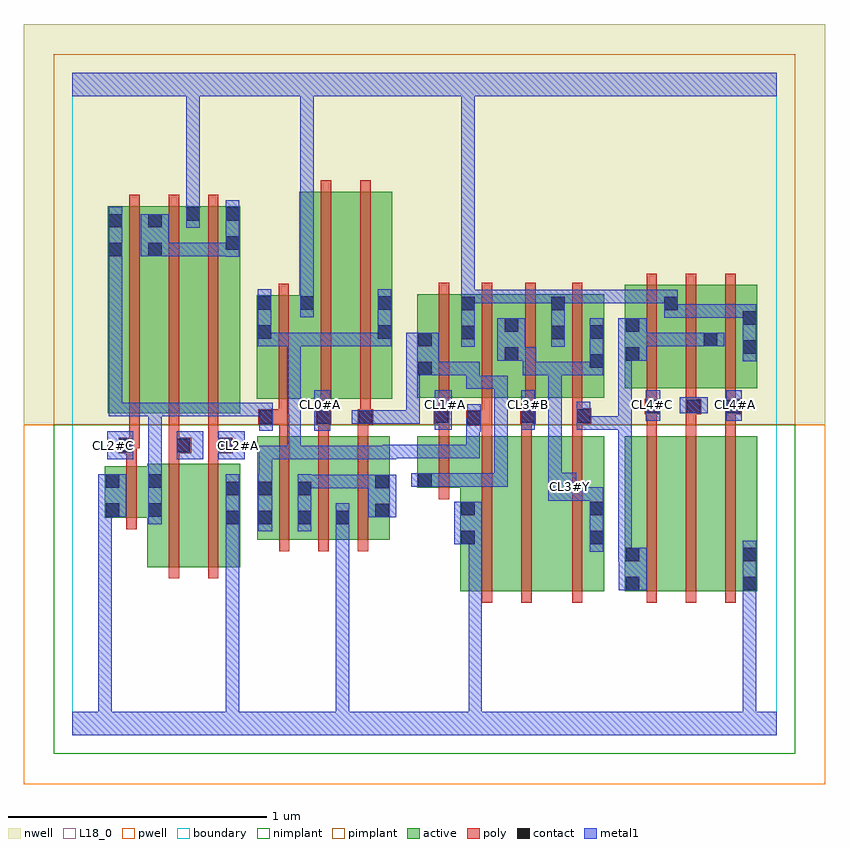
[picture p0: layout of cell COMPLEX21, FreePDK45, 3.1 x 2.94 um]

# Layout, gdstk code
import gdstk
lib = gdstk.Library(unit=1e-6, precision=1e-09)
def R(c, l, rs):  # rectangles x0, y0, x1, y1
    for r in rs: c.add(gdstk.rectangle(r[:2], r[2:], *l))
def A(c, l, x, y, w, h, nx, ny, dx, dy):  # array of equal rectangles
    R(c, l, [(x+i*dx, y+j*dy, x+i*dx+w, y+j*dy+h) for i in range(nx) for j in range(ny)])
active = (1, 0)
pwell = (2, 0)
nwell = (3, 0)
nimplant = (4, 0)
pimplant = (5, 0)
poly = (9, 0)
contact = (10, 0)
metal1 = (11, 0)
L18_0 = (18, 0)
boundary = (235, 0)

complex21 = lib.new_cell('COMPLEX21')
R(complex21, active, [(1.498,0.556,1.678,1.156), (1.678,0.556,1.83,1.156), (1.83,0.556,2.054,1.156), (1.994,0.556,2.054,1.156), (2.134,0.556,2.194,1.156), (2.134,0.556,2.314,1.156), (2.314,0.556,2.466,1.156), (2.466,0.556,2.646,1.156), (2.586,0.556,2.646,1.156), (0.288,0.65,0.468,1.05), (0.288,0.65,0.348,1.04), (0.468,0.65,0.648,1.05), (0.588,0.65,0.648,1.05), (1.498,0.734,1.558,1.156), (0.714,0.756,0.774,1.156), (0.714,0.756,0.926,1.156), (0.866,0.756,0.926,1.156), (0.866,0.756,1.074,1.156), (1.014,0.756,1.074,1.156), (1.014,0.756,1.226,1.156), (1.166,0.756,1.226,1.156), (0.124,0.84,0.184,1.04), (0.124,0.84,0.348,1.04), (1.332,0.956,1.558,1.156), (1.332,0.956,1.392,1.156), (0.136,1.244,0.196,2.044), (0.136,1.244,0.348,2.044), (0.288,1.244,0.496,2.044), (0.436,1.244,0.648,2.044), (0.588,1.244,0.648,2.044), (0.712,1.3,0.772,1.7), (0.712,1.3,0.936,1.7), (0.876,1.3,1.056,2.1), (1.056,1.3,1.236,2.1), (1.176,1.3,1.236,2.044), (1.332,1.304,1.392,1.644), (1.332,1.304,1.558,1.704), (1.498,1.304,1.726,1.704), (1.498,1.304,1.558,1.698), (1.666,1.304,1.726,1.704), (1.666,1.304,1.906,1.704), (1.846,1.304,1.906,1.704), (1.846,1.304,2.054,1.704), (1.994,1.304,2.054,1.644), (2.134,1.34,2.342,1.74), (2.134,1.34,2.194,1.644), (2.282,1.34,2.342,1.74), (2.282,1.34,2.494,1.74), (2.434,1.34,2.646,1.74), (2.434,1.34,2.494,1.644), (2.586,1.34,2.646,1.644), (0.876,1.64,0.936,1.7), (0.288,1.686,0.348,2.044), (0.436,1.686,0.496,2.044)])
R(complex21, pwell, [(-0.188,-0.188,2.908,1.2)])
R(complex21, nwell, [(-0.188,1.2,2.908,2.748)])
R(complex21, nimplant, [(-0.072,-0.072,2.792,1.2)])
R(complex21, pimplant, [(-0.072,1.2,2.792,2.632)])
A(complex21, poly, 2.218, 0.512, 0.04, 0.688, 3, 1, 0.152, 0)
A(complex21, poly, 0.798, 0.712, 0.04, 0.488, 3, 1, 0.152, 0)
A(complex21, poly, 0.22, 1.11, 0.04, 0.13, 3, 1, 0.152, 0)
A(complex21, poly, 0.798, 1.16, 0.04, 0.08, 3, 1, 0.152, 0)
A(complex21, poly, 2.218, 1.16, 0.04, 0.12, 3, 1, 0.152, 0)
A(complex21, poly, 0.22, 1.2, 0.04, 0.888, 3, 1, 0.152, 0)
A(complex21, poly, 2.218, 1.26, 0.04, 0.076, 3, 1, 0.152, 0)
A(complex21, poly, 2.218, 1.296, 0.04, 0.488, 3, 1, 0.152, 0)
R(complex21, poly, [(1.582,0.512,1.622,1.2), (1.734,0.512,1.774,1.2), (1.93,0.512,1.97,1.2), (0.372,0.606,0.412,1.094), (0.524,0.606,0.564,1.094), (0.208,0.796,0.248,1.084), (1.416,0.912,1.456,1.2), (0.208,1.044,0.248,1.13), (0.372,1.054,0.412,1.13), (0.524,1.054,0.564,1.13), (0.178,1.09,0.248,1.15), (0.372,1.09,0.458,1.15), (0.524,1.09,0.62,1.15), (0.208,1.11,0.248,1.15), (0.208,1.11,0.26,1.15), (0.372,1.11,0.412,1.15), (0.372,1.11,0.412,1.15), (0.524,1.11,0.564,1.15), (0.524,1.11,0.564,1.15), (1.416,1.16,1.456,1.244), (1.582,1.16,1.622,1.236), (1.734,1.16,1.774,1.244), (1.93,1.16,1.97,1.244), (1.522,1.196,1.622,1.256), (0.718,1.2,0.836,1.26), (0.796,1.2,0.836,1.24), (0.796,1.2,0.838,1.24), (0.94,1.2,1,1.26), (0.95,1.2,0.99,1.24), (0.95,1.2,0.99,1.24), (1.102,1.2,1.142,1.24), (1.102,1.2,1.142,1.24), (1.102,1.2,1.162,1.26), (1.396,1.204,1.456,1.264), (1.416,1.204,1.456,1.244), (1.416,1.204,1.456,1.244), (1.73,1.204,1.79,1.264), (1.93,1.204,1.97,1.244), (1.93,1.204,1.97,1.244), (1.93,1.204,2.004,1.264), (1.582,1.216,1.622,1.256), (1.582,1.216,1.622,1.256), (1.582,1.216,1.622,1.3), (0.796,1.22,0.836,1.296), (0.96,1.22,1,1.296), (1.112,1.22,1.152,1.296), (1.416,1.224,1.456,1.3), (1.75,1.224,1.79,1.3), (1.75,1.224,1.79,1.264), (1.75,1.224,1.79,1.264), (1.93,1.224,1.97,1.3), (2.21,1.24,2.27,1.3), (2.218,1.24,2.258,1.28), (2.218,1.24,2.258,1.28), (2.37,1.24,2.41,1.28), (2.37,1.24,2.41,1.28), (2.37,1.24,2.43,1.3), (2.522,1.24,2.582,1.3), (0.796,1.256,0.836,1.744), (0.96,1.256,1,2.144), (1.112,1.256,1.152,2.144), (1.416,1.26,1.456,1.748), (1.582,1.26,1.622,1.748), (1.75,1.26,1.79,1.748), (1.93,1.26,1.97,1.748), (2.522,1.26,2.562,1.3), (2.522,1.26,2.562,1.3)])
R(complex21, contact, [(2.138,0.56,2.19,0.612), (2.59,0.56,2.642,0.612), (2.138,0.672,2.19,0.724), (2.59,0.672,2.642,0.724), (1.502,0.738,1.554,0.79), (1.998,0.738,2.05,0.79), (0.592,0.816,0.644,0.868), (0.718,0.816,0.77,0.868), (0.87,0.816,0.922,0.868), (1.018,0.816,1.07,0.868), (1.17,0.842,1.222,0.894), (0.128,0.844,0.18,0.896), (0.292,0.844,0.344,0.896), (1.502,0.85,1.554,0.902), (1.998,0.85,2.05,0.902), (0.592,0.928,0.644,0.98), (0.718,0.928,0.77,0.98), (0.87,0.928,0.922,0.98), (1.17,0.954,1.222,1.006), (0.128,0.956,0.18,1.008), (0.292,0.956,0.344,1.008), (1.336,0.96,1.388,1.012), (0.182,1.094,0.234,1.146), (0.402,1.094,0.454,1.146), (0.564,1.094,0.616,1.146), (1.526,1.2,1.578,1.252), (0.722,1.204,0.774,1.256), (0.944,1.204,0.996,1.256), (1.106,1.204,1.158,1.256), (1.4,1.208,1.452,1.26), (1.734,1.208,1.786,1.26), (1.948,1.208,2,1.26), (2.214,1.244,2.266,1.296), (2.374,1.244,2.426,1.296), (2.526,1.244,2.578,1.296), (1.336,1.392,1.388,1.444), (1.998,1.42,2.05,1.472), (1.67,1.448,1.722,1.5), (2.138,1.448,2.19,1.5), (2.59,1.474,2.642,1.526), (1.336,1.504,1.388,1.556), (2.438,1.504,2.49,1.556), (1.502,1.53,1.554,1.582), (1.85,1.53,1.902,1.582), (0.716,1.532,0.768,1.584), (1.18,1.532,1.232,1.584), (1.998,1.532,2.05,1.584), (1.67,1.56,1.722,1.612), (2.138,1.56,2.19,1.612), (2.59,1.586,2.642,1.638), (1.502,1.642,1.554,1.694), (1.85,1.642,1.902,1.694), (2.286,1.642,2.338,1.694), (0.716,1.644,0.768,1.696), (0.88,1.644,0.932,1.696), (1.18,1.644,1.232,1.696), (0.14,1.85,0.192,1.902), (0.292,1.85,0.344,1.902), (0.592,1.876,0.644,1.928), (0.14,1.962,0.192,2.014), (0.292,1.962,0.344,2.014), (0.44,1.988,0.492,2.04), (0.592,1.988,0.644,2.04)])
R(complex21, metal1, [(0,0,2.72,0.092), (0.1,0.04,0.152,0.092), (0.1,0.04,0.152,0.092), (0.1,0.04,0.152,0.092), (0.1,0.04,0.152,0.092), (0.1,0.04,0.152,0.896), (0.592,0.04,0.644,0.092), (0.592,0.04,0.644,0.092), (0.592,0.04,0.644,0.092), (0.592,0.04,0.644,0.092), (0.592,0.04,0.644,0.092), (0.592,0.04,0.644,0.092), (0.592,0.04,0.644,0.092), (0.592,0.04,0.644,0.092), (0.592,0.04,0.644,0.092), (0.592,0.04,0.644,0.092), (0.592,0.04,0.644,0.092), (0.592,0.04,0.644,0.092), (0.592,0.04,0.644,0.84), (1.018,0.04,1.07,0.84), (1.53,0.04,1.582,0.092), (1.53,0.04,1.582,0.092), (1.53,0.04,1.582,0.092), (1.53,0.04,1.582,0.092), (1.53,0.04,1.582,0.092), (1.53,0.04,1.582,0.092), (1.53,0.04,1.582,0.092), (1.53,0.04,1.582,0.092), (1.53,0.04,1.582,0.79), (2.59,0.04,2.642,0.092), (2.59,0.04,2.642,0.092), (2.59,0.04,2.642,0.584), (2.59,0.532,2.642,0.584), (2.59,0.532,2.642,0.584), (2.59,0.532,2.642,0.584), (2.59,0.532,2.642,0.584), (2.59,0.532,2.642,0.584), (2.59,0.532,2.642,0.584), (2.59,0.532,2.642,0.752), (2.11,0.56,2.218,0.724), (2.108,0.672,2.16,1.232), (2.108,0.672,2.162,0.724), (2.11,0.672,2.162,0.724), (1.998,0.71,2.05,0.93), (1.474,0.738,1.582,0.902), (0.592,0.788,0.644,1.008), (0.718,0.788,0.772,1.008), (0.87,0.788,0.922,1.008), (1.018,0.788,1.07,0.84), (1.018,0.788,1.07,0.84), (1.018,0.788,1.07,0.84), (1.018,0.788,1.07,0.84), (1.018,0.788,1.07,0.84), (1.018,0.788,1.07,0.84), (1.018,0.788,1.07,0.84), (1.018,0.788,1.07,0.84), (1.018,0.788,1.07,0.84), (1.018,0.788,1.07,0.84), (1.018,0.788,1.07,0.84), (1.018,0.788,1.07,0.84), (1.018,0.788,1.07,0.896), (0.292,0.816,0.344,1.036), (1.142,0.842,1.25,1.006), (0.1,0.844,0.152,0.896), (0.1,0.844,0.152,0.896), (0.1,0.844,0.152,0.896), (0.1,0.844,0.152,0.896), (0.1,0.844,0.152,0.896), (0.1,0.844,0.152,0.896), (0.1,0.844,0.152,0.896), (0.1,0.844,0.152,0.896), (0.1,0.844,0.152,0.896), (0.1,0.844,0.152,0.896), (0.1,0.844,0.152,0.896), (0.1,0.844,0.152,0.896), (0.1,0.844,0.208,1.008), (1.998,0.878,2.05,0.958), (1.838,0.906,1.946,1.014), (1.894,0.906,1.946,0.958), (1.894,0.906,1.946,0.958), (1.894,0.906,2.05,0.958), (1.998,0.906,2.05,0.958), (0.87,0.954,0.922,1.006), (0.87,0.954,0.922,1.006), (0.87,0.954,1.032,1.006), (0.98,0.954,1.032,1.006), (0.98,0.954,1.032,1.006), (0.98,0.954,1.032,1.006), (0.98,0.954,1.194,1.006), (0.72,0.956,0.772,1.118), (1.308,0.96,1.416,1.012), (1.364,0.96,1.416,1.012), (1.364,0.96,1.416,1.012), (1.364,0.96,1.526,1.012), (1.474,0.96,1.526,1.012), (1.474,0.96,1.67,1.012), (1.618,0.96,1.67,1.012), (1.618,0.96,1.682,1.012), (1.63,0.96,1.682,1.012), (1.63,0.96,1.682,1.012), (1.63,0.96,1.682,1.012), (1.63,0.96,1.682,1.39), (1.838,0.962,1.89,1.444), (0.292,0.984,0.344,1.036), (0.292,0.984,0.344,1.036), (0.292,0.984,0.344,1.284), (0.134,1.066,0.234,1.174), (0.402,1.066,0.506,1.174), (0.564,1.066,0.666,1.174), (0.72,1.066,0.772,1.118), (0.72,1.066,0.776,1.118), (0.724,1.066,0.776,1.118), (0.724,1.066,0.882,1.118), (0.83,1.066,0.882,1.118), (0.83,1.066,0.882,1.118), (0.83,1.066,0.882,1.118), (0.83,1.066,0.886,1.118), (0.83,1.066,0.882,1.556), (0.834,1.066,0.886,1.118), (0.834,1.066,1.032,1.118), (0.98,1.066,1.032,1.118), (0.98,1.066,1.032,1.118), (0.98,1.066,1.032,1.118), (0.98,1.066,1.25,1.118), (1.198,1.066,1.25,1.122), (1.198,1.07,1.398,1.122), (1.346,1.07,1.398,1.122), (1.346,1.07,1.398,1.122), (1.346,1.07,1.398,1.122), (1.346,1.07,1.574,1.122), (1.522,1.07,1.574,1.224), (1.522,1.172,1.578,1.224), (1.526,1.172,1.578,1.28), (0.722,1.176,0.774,1.284), (0.934,1.176,0.996,1.334), (1.4,1.18,1.466,1.334), (1.734,1.18,1.786,1.334), (1.948,1.18,2.056,1.232), (1.948,1.18,2,1.288), (2.004,1.18,2.056,1.232), (2.004,1.18,2.16,1.232), (2.108,1.18,2.16,1.232), (2.108,1.18,2.16,1.5), (1.078,1.204,1.186,1.256), (1.134,1.204,1.186,1.256), (1.134,1.204,1.186,1.256), (1.134,1.204,1.342,1.256), (1.29,1.204,1.342,1.256), (1.29,1.204,1.342,1.444), (2.214,1.216,2.27,1.334), (2.526,1.216,2.586,1.334), (0.14,1.232,0.192,1.284), (0.14,1.232,0.192,1.284), (0.14,1.232,0.192,1.284), (0.14,1.232,0.344,1.284), (0.14,1.232,0.192,1.874), (0.292,1.232,0.344,1.284), (0.292,1.232,0.344,1.284), (0.292,1.232,0.344,1.284), (0.292,1.232,0.506,1.284), (0.454,1.232,0.506,1.284), (0.454,1.232,0.506,1.284), (0.454,1.232,0.506,1.284), (0.454,1.232,0.664,1.284), (0.612,1.232,0.664,1.284), (0.612,1.232,0.664,1.284), (0.612,1.232,0.664,1.284), (0.612,1.232,0.774,1.284), (2.346,1.244,2.454,1.306), (1.522,1.338,1.574,1.39), (1.522,1.338,1.614,1.39), (1.522,1.338,1.574,1.444), (1.562,1.338,1.614,1.39), (1.562,1.338,1.682,1.39), (1.63,1.338,1.682,1.39), (1.29,1.392,1.416,1.556), (1.364,1.392,1.416,1.444), (1.364,1.392,1.416,1.444), (1.364,1.392,1.574,1.444), (1.522,1.392,1.574,1.444), (1.74,1.392,1.792,1.5), (1.74,1.392,1.89,1.444), (1.838,1.392,1.89,1.444), (1.838,1.392,1.89,1.444), (1.838,1.392,1.89,1.444), (1.838,1.392,2.05,1.444), (1.998,1.392,2.05,1.444), (1.998,1.392,2.05,1.444), (1.998,1.392,2.05,1.612), (2.59,1.446,2.642,1.666), (1.642,1.448,1.75,1.612), (1.698,1.448,1.792,1.5), (2.108,1.448,2.218,1.612), (1.502,1.502,1.554,1.722), (1.85,1.502,1.902,1.722), (0.716,1.504,0.768,1.724), (0.716,1.504,0.776,1.556), (0.724,1.504,0.776,1.556), (0.724,1.504,0.882,1.556), (0.83,1.504,0.882,1.556), (0.83,1.504,0.886,1.556), (0.834,1.504,0.886,1.556), (0.834,1.504,1.076,1.556), (1.024,1.504,1.076,1.556), (1.024,1.504,1.232,1.556), (1.18,1.504,1.232,1.556), (1.18,1.504,1.232,1.556), (1.18,1.504,1.232,1.724), (2.166,1.504,2.218,1.556), (2.166,1.504,2.218,1.556), (2.166,1.504,2.352,1.556), (2.3,1.504,2.352,1.556), (2.3,1.504,2.352,1.556), (2.3,1.504,2.352,1.556), (2.3,1.504,2.462,1.556), (2.41,1.504,2.518,1.556), (2.286,1.614,2.468,1.666), (2.286,1.614,2.338,1.722), (2.416,1.614,2.468,1.666), (2.416,1.614,2.468,1.666), (2.416,1.614,2.468,1.666), (2.416,1.614,2.642,1.666), (2.59,1.614,2.642,1.666), (2.59,1.614,2.642,1.666), (0.88,1.616,0.932,1.724), (1.502,1.67,1.554,1.722), (1.502,1.67,1.554,1.722), (1.502,1.67,1.554,1.722), (1.502,1.67,1.554,1.722), (1.502,1.67,1.554,1.722), (1.502,1.67,1.554,1.722), (1.502,1.67,1.554,1.722), (1.502,1.67,1.554,1.722), (1.502,1.67,1.554,1.722), (1.502,1.67,1.554,1.722), (1.502,1.67,1.554,1.722), (1.502,1.67,1.554,1.722), (1.502,1.67,1.554,1.722), (1.502,1.67,1.554,1.722), (1.502,1.67,1.554,1.722), (1.502,1.67,1.554,1.722), (1.502,1.67,1.67,1.722), (1.502,1.67,1.554,2.52), (1.618,1.67,1.67,1.722), (1.618,1.67,1.78,1.722), (1.728,1.67,1.78,1.722), (1.728,1.67,1.78,1.722), (1.728,1.67,1.78,1.722), (1.728,1.67,1.902,1.722), (1.85,1.67,1.902,1.722), (1.85,1.67,1.902,1.722), (1.85,1.67,2.056,1.722), (2.004,1.67,2.056,1.722), (2.004,1.67,2.166,1.722), (2.114,1.67,2.166,1.722), (2.114,1.67,2.166,1.722), (2.114,1.67,2.166,1.722), (2.114,1.67,2.338,1.722), (0.88,1.672,0.932,1.724), (0.88,1.672,0.932,1.724), (0.88,1.672,0.932,1.724), (0.88,1.672,0.932,1.724), (0.88,1.672,0.932,1.724), (0.88,1.672,0.932,1.724), (0.88,1.672,0.932,1.724), (0.88,1.672,0.932,1.724), (0.88,1.672,0.932,2.52), (0.14,1.822,0.192,2.042), (0.592,1.848,0.644,2.068), (0.264,1.85,0.372,2.014), (0.32,1.85,0.372,1.902), (0.32,1.85,0.372,1.902), (0.32,1.85,0.482,1.902), (0.43,1.85,0.482,1.902), (0.43,1.85,0.482,1.902), (0.43,1.85,0.482,1.902), (0.43,1.85,0.644,1.902), (0.44,1.96,0.492,2.068), (0.44,2.016,0.492,2.068), (0.44,2.016,0.492,2.068), (0.44,2.016,0.492,2.52), (0,2.468,2.72,2.56), (0.44,2.468,0.492,2.52), (0.44,2.468,0.492,2.52), (0.44,2.468,0.492,2.52), (0.44,2.468,0.492,2.52), (0.44,2.468,0.492,2.52), (0.44,2.468,0.492,2.52)])
A(complex21, L18_0, 2.214, 1.254, 0.052, 0.052, 3, 1, 0.16, 0)
R(complex21, L18_0, [(0,0,2.72,0.092), (0.1,0.04,0.152,0.092), (0.1,0.04,0.152,0.092), (0.1,0.04,0.152,0.092), (0.1,0.04,0.152,0.092), (0.1,0.04,0.152,0.896), (0.592,0.04,0.644,0.092), (0.592,0.04,0.644,0.092), (0.592,0.04,0.644,0.092), (0.592,0.04,0.644,0.092), (0.592,0.04,0.644,0.092), (0.592,0.04,0.644,0.092), (0.592,0.04,0.644,0.092), (0.592,0.04,0.644,0.092), (0.592,0.04,0.644,0.092), (0.592,0.04,0.644,0.092), (0.592,0.04,0.644,0.092), (0.592,0.04,0.644,0.092), (0.592,0.04,0.644,0.84), (1.018,0.04,1.07,0.84), (1.53,0.04,1.582,0.092), (1.53,0.04,1.582,0.092), (1.53,0.04,1.582,0.092), (1.53,0.04,1.582,0.092), (1.53,0.04,1.582,0.092), (1.53,0.04,1.582,0.092), (1.53,0.04,1.582,0.092), (1.53,0.04,1.582,0.092), (1.53,0.04,1.582,0.79), (2.59,0.04,2.642,0.092), (2.59,0.04,2.642,0.092), (2.59,0.04,2.642,0.584), (2.59,0.532,2.642,0.584), (2.59,0.532,2.642,0.584), (2.59,0.532,2.642,0.584), (2.59,0.532,2.642,0.584), (2.59,0.532,2.642,0.584), (2.59,0.532,2.642,0.584), (2.59,0.532,2.642,0.752), (1.998,0.71,2.05,0.93), (1.474,0.738,1.582,0.902), (0.592,0.788,0.644,1.008), (1.018,0.788,1.07,0.84), (1.018,0.788,1.07,0.84), (1.018,0.788,1.07,0.84), (1.018,0.788,1.07,0.84), (1.018,0.788,1.07,0.84), (1.018,0.788,1.07,0.84), (1.018,0.788,1.07,0.84), (1.018,0.788,1.07,0.84), (1.018,0.788,1.07,0.84), (1.018,0.788,1.07,0.84), (1.018,0.788,1.07,0.84), (1.018,0.788,1.07,0.84), (1.018,0.788,1.07,0.896), (0.1,0.844,0.152,0.896), (0.1,0.844,0.152,0.896), (0.1,0.844,0.152,0.896), (0.1,0.844,0.152,0.896), (0.1,0.844,0.152,0.896), (0.1,0.844,0.152,0.896), (0.1,0.844,0.152,0.896), (0.1,0.844,0.152,0.896), (0.1,0.844,0.152,0.896), (0.1,0.844,0.152,0.896), (0.1,0.844,0.152,0.896), (0.1,0.844,0.152,0.896), (0.1,0.844,0.208,1.008), (1.998,0.878,2.05,0.958), (1.838,0.906,1.946,1.014), (1.894,0.906,1.946,0.958), (1.894,0.906,1.946,0.958), (1.894,0.906,2.05,0.958), (1.998,0.906,2.05,0.958), (1.894,0.934,1.946,0.986), (1.838,0.962,1.89,1.444), (0.134,1.066,0.234,1.174), (0.402,1.066,0.506,1.174), (0.564,1.066,0.666,1.174), (0.134,1.094,0.186,1.146), (0.454,1.094,0.506,1.146), (0.614,1.094,0.666,1.146), (0.934,1.176,0.996,1.334), (1.4,1.18,1.466,1.334), (1.734,1.18,1.786,1.334), (2.214,1.216,2.27,1.334), (2.526,1.216,2.586,1.334), (2.346,1.244,2.454,1.306), (0.934,1.254,0.986,1.306), (1.414,1.254,1.466,1.306), (1.734,1.254,1.786,1.306), (1.74,1.392,1.792,1.5), (1.74,1.392,1.89,1.444), (1.838,1.392,1.89,1.444), (1.838,1.392,1.89,1.444), (1.838,1.392,1.89,1.444), (1.838,1.392,2.05,1.444), (1.998,1.392,2.05,1.444), (1.998,1.392,2.05,1.444), (1.998,1.392,2.05,1.612), (2.59,1.446,2.642,1.666), (1.642,1.448,1.75,1.612), (1.698,1.448,1.792,1.5), (1.502,1.502,1.554,1.722), (1.85,1.502,1.902,1.722), (2.286,1.614,2.338,1.722), (2.286,1.614,2.468,1.666), (2.416,1.614,2.468,1.666), (2.416,1.614,2.468,1.666), (2.416,1.614,2.468,1.666), (2.416,1.614,2.642,1.666), (2.59,1.614,2.642,1.666), (2.59,1.614,2.642,1.666), (0.88,1.616,0.932,1.724), (1.502,1.67,1.554,1.722), (1.502,1.67,1.554,1.722), (1.502,1.67,1.554,1.722), (1.502,1.67,1.554,1.722), (1.502,1.67,1.554,1.722), (1.502,1.67,1.554,1.722), (1.502,1.67,1.554,1.722), (1.502,1.67,1.554,1.722), (1.502,1.67,1.554,1.722), (1.502,1.67,1.554,1.722), (1.502,1.67,1.554,1.722), (1.502,1.67,1.554,1.722), (1.502,1.67,1.554,1.722), (1.502,1.67,1.554,1.722), (1.502,1.67,1.554,1.722), (1.502,1.67,1.554,1.722), (1.502,1.67,1.554,2.52), (1.502,1.67,1.67,1.722), (1.618,1.67,1.67,1.722), (1.618,1.67,1.78,1.722), (1.728,1.67,1.78,1.722), (1.728,1.67,1.78,1.722), (1.728,1.67,1.78,1.722), (1.728,1.67,1.902,1.722), (1.85,1.67,1.902,1.722), (1.85,1.67,1.902,1.722), (1.85,1.67,2.056,1.722), (2.004,1.67,2.056,1.722), (2.004,1.67,2.166,1.722), (2.114,1.67,2.166,1.722), (2.114,1.67,2.166,1.722), (2.114,1.67,2.166,1.722), (2.114,1.67,2.338,1.722), (0.88,1.672,0.932,1.724), (0.88,1.672,0.932,1.724), (0.88,1.672,0.932,1.724), (0.88,1.672,0.932,1.724), (0.88,1.672,0.932,1.724), (0.88,1.672,0.932,1.724), (0.88,1.672,0.932,1.724), (0.88,1.672,0.932,1.724), (0.88,1.672,0.932,2.52), (0.44,1.96,0.492,2.068), (0.44,2.016,0.492,2.068), (0.44,2.016,0.492,2.068), (0.44,2.016,0.492,2.52), (0,2.468,2.72,2.56), (0.44,2.468,0.492,2.52), (0.44,2.468,0.492,2.52), (0.44,2.468,0.492,2.52), (0.44,2.468,0.492,2.52), (0.44,2.468,0.492,2.52), (0.44,2.468,0.492,2.52)])
R(complex21, boundary, [(0,0,2.72,2.56)])
complex21.add(gdstk.Label('CL0#A', (0.96,1.28), layer=11, texttype=0))
complex21.add(gdstk.Label('CL1#A', (1.44,1.28), layer=11, texttype=0))
complex21.add(gdstk.Label('CL2#A', (0.64,1.12), layer=11, texttype=0))
complex21.add(gdstk.Label('CL2#B', (0.48,1.12), layer=11, texttype=0))
complex21.add(gdstk.Label('CL2#C', (0.16,1.12), layer=11, texttype=0))
complex21.add(gdstk.Label('CL3#B', (1.76,1.28), layer=11, texttype=0))
complex21.add(gdstk.Label('CL3#Y', (1.92,0.96), layer=11, texttype=0))
complex21.add(gdstk.Label('CL4#A', (2.56,1.28), layer=11, texttype=0))
complex21.add(gdstk.Label('CL4#B', (2.4,1.28), layer=11, texttype=0))
complex21.add(gdstk.Label('CL4#C', (2.24,1.28), layer=11, texttype=0))

lib.write_gds('COMPLEX21.gds')
